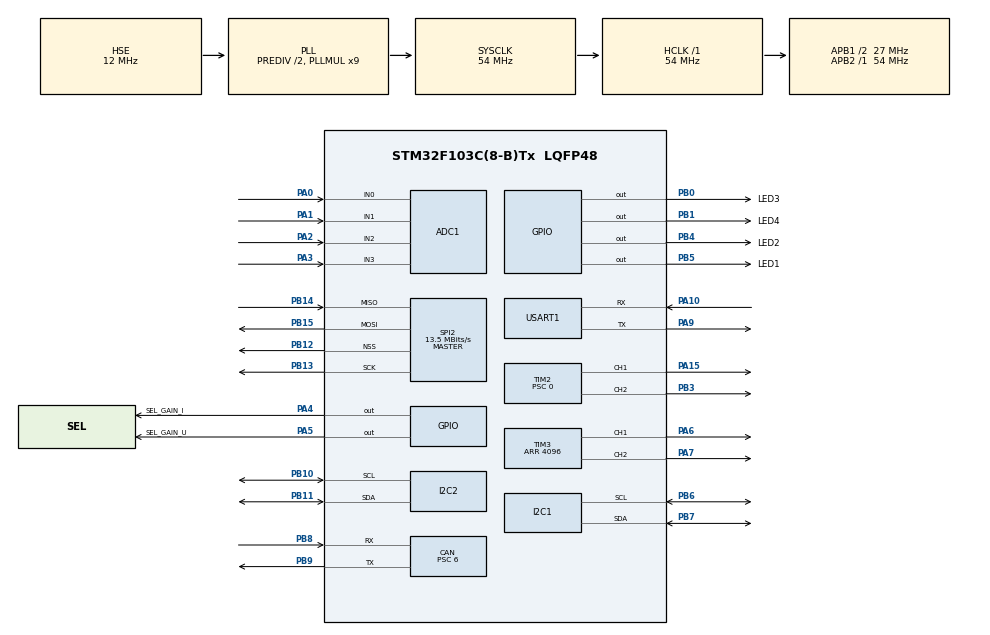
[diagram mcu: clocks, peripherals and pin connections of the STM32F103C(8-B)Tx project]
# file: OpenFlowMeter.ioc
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ADC1.Channel-4\#ChannelRegularConversion=ADC_CHANNEL_0
ADC1.Channel-5\#ChannelRegularConversion=ADC_CHANNEL_1
ADC1.Channel-6\#ChannelRegularConversion=ADC_CHANNEL_2
ADC1.Channel-7\#ChannelRegularConversion=ADC_CHANNEL_3
ADC1.Channel-8\#ChannelRegularConversion=ADC_CHANNEL_TEMPSENSOR
ADC1.Channel-9\#ChannelRegularConversion=ADC_CHANNEL_VREFINT
ADC1.ContinuousConvMode=DISABLE
ADC1.DiscontinuousConvMode=DISABLE
ADC1.EnableInjectedConversion=DISABLE
ADC1.ExternalTrigConv=ADC_SOFTWARE_START
ADC1.NbrOfConversion=6
ADC1.NbrOfConversionFlag=1
ADC1.Rank-4\#ChannelRegularConversion=1
ADC1.Rank-5\#ChannelRegularConversion=2
ADC1.Rank-6\#ChannelRegularConversion=3
ADC1.Rank-7\#ChannelRegularConversion=4
ADC1.Rank-8\#ChannelRegularConversion=5
ADC1.Rank-9\#ChannelRegularConversion=6
ADC1.SamplingTime-4\#ChannelRegularConversion=ADC_SAMPLETIME_55CYCLES_5
ADC1.SamplingTime-5\#ChannelRegularConversion=ADC_SAMPLETIME_55CYCLES_5
ADC1.SamplingTime-6\#ChannelRegularConversion=ADC_SAMPLETIME_55CYCLES_5
ADC1.SamplingTime-7\#ChannelRegularConversion=ADC_SAMPLETIME_55CYCLES_5
ADC1.SamplingTime-8\#ChannelRegularConversion=ADC_SAMPLETIME_55CYCLES_5
ADC1.SamplingTime-9\#ChannelRegularConversion=ADC_SAMPLETIME_55CYCLES_5
ADC1.master=1
CAN.BS1=CAN_BS1_7TQ
CAN.BS2=CAN_BS2_1TQ
CAN.CalculateBaudRate=500000
CAN.CalculateTimeBit=2000
CAN.CalculateTimeQuantum=222.22222222222223
CAN.NART=DISABLE
CAN.Prescaler=6
CAN.SJW=CAN_SJW_1TQ
CAN.TXFP=ENABLE
Dma.ADC1.0.Direction=DMA_PERIPH_TO_MEMORY
Dma.ADC1.0.Instance=DMA1_Channel1
Dma.ADC1.0.MemDataAlignment=DMA_MDATAALIGN_WORD
Dma.ADC1.0.MemInc=DMA_MINC_ENABLE
Dma.ADC1.0.Mode=DMA_CIRCULAR
Dma.ADC1.0.PeriphDataAlignment=DMA_PDATAALIGN_WORD
Dma.ADC1.0.PeriphInc=DMA_PINC_DISABLE
Dma.ADC1.0.Priority=DMA_PRIORITY_LOW
Dma.Request0=ADC1
Mcu.Family=STM32F1
Mcu.Name=STM32F103C(8-B)Tx
Mcu.Package=LQFP48
NVIC.CAN1_RX1_IRQn=true\:0\:0\:false\:false\:true\:true\:true\:true
NVIC.DMA1_Channel1_IRQn=true\:0\:0\:false\:false\:true\:false\:true\:true
NVIC.PriorityGroup=NVIC_PRIORITYGROUP_4
NVIC.TIM1_UP_IRQn=true\:0\:0\:false\:false\:true\:true\:true\:true
NVIC.USB_LP_CAN1_RX0_IRQn=true\:0\:0\:false\:false\:true\:false\:true\:true
PA0-WKUP.Signal=ADCx_IN0
PA1.Signal=ADCx_IN1
PA10.Mode=Asynchronous
PA10.Signal=USART1_RX
PA13.Mode=Serial_Wire
PA13.Signal=SYS_JTMS-SWDIO
PA14.Mode=Serial_Wire
PA14.Signal=SYS_JTCK-SWCLK
PA15.Signal=S_TIM2_CH1_ETR
PA2.Signal=ADCx_IN2
PA3.Signal=ADCx_IN3
PA4.GPIO_Label=SEL_GAIN_I
PA4.Signal=GPIO_Output
PA5.GPIO_Label=SEL_GAIN_U
PA5.Signal=GPIO_Output
PA6.Signal=S_TIM3_CH1
PA7.Signal=S_TIM3_CH2
PA9.Mode=Asynchronous
PA9.Signal=USART1_TX
PB0.GPIO_Label=LED3
PB0.GPIO_ModeDefaultOutputPP=GPIO_MODE_OUTPUT_OD
PB0.Signal=GPIO_Output
PB1.GPIO_Label=LED4
PB1.GPIO_ModeDefaultOutputPP=GPIO_MODE_OUTPUT_OD
PB1.Signal=GPIO_Output
PB10.GPIO_Pu=GPIO_PULLUP
PB10.Mode=I2C
PB10.Signal=I2C2_SCL
PB11.GPIO_Pu=GPIO_PULLUP
PB11.Mode=I2C
PB11.Signal=I2C2_SDA
PB12.Mode=NSS_Signal_Hard_Output
PB12.Signal=SPI2_NSS
PB13.Mode=Full_Duplex_Master
PB13.Signal=SPI2_SCK
PB14.Mode=Full_Duplex_Master
PB14.Signal=SPI2_MISO
PB15.Mode=Full_Duplex_Master
PB15.Signal=SPI2_MOSI
PB3.Signal=S_TIM2_CH2
PB4.GPIO_Label=LED2
PB4.GPIO_ModeDefaultOutputPP=GPIO_MODE_OUTPUT_OD
PB4.Signal=GPIO_Output
PB5.GPIO_Label=LED1
PB5.GPIO_ModeDefaultOutputPP=GPIO_MODE_OUTPUT_OD
PB5.Signal=GPIO_Output
PB6.GPIO_Pu=GPIO_PULLUP
PB6.Mode=I2C
PB6.Signal=I2C1_SCL
PB7.GPIO_Pu=GPIO_PULLUP
PB7.Mode=I2C
PB7.Signal=I2C1_SDA
PB8.Mode=CAN_Activate
PB8.Signal=CAN_RX
PB9.Mode=CAN_Activate
PB9.Signal=CAN_TX
PD0-OSC_IN.Mode=HSE-External-Oscillator
PD0-OSC_IN.Signal=RCC_OSC_IN
PD1-OSC_OUT.Mode=HSE-External-Oscillator
PD1-OSC_OUT.Signal=RCC_OSC_OUT
ProjectManager.HeapSize=0x200
ProjectManager.StackSize=0x400
ProjectManager.TargetToolchain=STM32CubeIDE
RCC.ADCPresc=RCC_ADCPCLK2_DIV8
RCC.AHBFreq_Value=54000000
RCC.APB1CLKDivider=RCC_HCLK_DIV2
RCC.APB1Freq_Value=27000000
RCC.APB1TimFreq_Value=54000000
RCC.APB2Freq_Value=54000000
RCC.APB2TimFreq_Value=54000000
RCC.HCLKFreq_Value=54000000
RCC.HSEDivPLL=RCC_HSE_PREDIV_DIV2
RCC.HSE_VALUE=12000000
RCC.LockedElements=APB1Output,ADCoutput
RCC.PLLMUL=RCC_PLL_MUL9
RCC.PLLSourceVirtual=RCC_PLLSOURCE_HSE
RCC.SYSCLKFreq_VALUE=54000000
RCC.SYSCLKSource=RCC_SYSCLKSOURCE_PLLCLK
RCC.USBFreq_Value=36000000
RCC.USBPrescaler=RCC_USBCLKSOURCE_PLL_DIV1_5
SH.ADCx_IN0.0=ADC1_IN0,IN0
SH.ADCx_IN0.1=ADC2_IN0
SH.ADCx_IN1.0=ADC1_IN1,IN1
SH.ADCx_IN1.1=ADC2_IN1
SH.ADCx_IN2.0=ADC1_IN2,IN2
SH.ADCx_IN2.1=ADC2_IN2
SH.ADCx_IN3.0=ADC1_IN3,IN3
SH.ADCx_IN3.1=ADC2_IN3
SH.S_TIM2_CH1_ETR.0=TIM2_CH1,PWM Generation1 CH1
SH.S_TIM2_CH2.0=TIM2_CH2,PWM Generation2 CH2
SH.S_TIM3_CH1.0=TIM3_CH1,PWM Generation1 CH1
SH.S_TIM3_CH2.0=TIM3_CH2,PWM Generation2 CH2
SPI2.CalculateBaudRate=13.5 MBits/s
SPI2.Direction=SPI_DIRECTION_2LINES
SPI2.Mode=SPI_MODE_MASTER
SPI2.VirtualNSS=VM_NSSHARD
SPI2.VirtualType=VM_MASTER
TIM1.AutoReloadPreload=TIM_AUTORELOAD_PRELOAD_ENABLE
TIM1.Period=1250-1
TIM1.Prescaler=5400-1
TIM2.AutoReloadPreload=TIM_AUTORELOAD_PRELOAD_ENABLE
TIM2.Channel-PWM\ Generation1\ CH1=TIM_CHANNEL_1
TIM2.Channel-PWM\ Generation2\ CH2=TIM_CHANNEL_2
TIM2.Period=4096
TIM2.Prescaler=0
TIM3.AutoReloadPreload=TIM_AUTORELOAD_PRELOAD_ENABLE
TIM3.Channel-PWM\ Generation1\ CH1=TIM_CHANNEL_1
TIM3.Channel-PWM\ Generation2\ CH2=TIM_CHANNEL_2
TIM3.Period=4096
USART1.VirtualMode=VM_ASYNC
VP_ADC1_TempSens_Input.Mode=IN-TempSens
VP_ADC1_Vref_Input.Mode=IN-Vrefint
VP_TIM1_VS_ClockSourceINT.Mode=Internal
VP_TIM2_VS_ClockSourceINT.Mode=Internal
VP_TIM3_VS_ClockSourceINT.Mode=Internal
VP_TIM4_VS_ClockSourceINT.Mode=Internal
board=custom

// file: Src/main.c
/* USER CODE BEGIN Header */
/**
  ******************************************************************************
  * @file           : main.c
  * @brief          : Main program body
  ******************************************************************************
  * @attention
  *
  * <h2><center>&copy; Copyright (c) 2022 STMicroelectronics.
  * All rights reserved.</center></h2>
  *
  * This software component is licensed by ST under BSD 3-Clause license,
  * the "License"; You may not use this file except in compliance with the
  * License. You may obtain a copy of the License at:
  *                        opensource.org/licenses/BSD-3-Clause
  *
  ******************************************************************************
  */
/* USER CODE END Header */
#include "main.h"
#include "adc.h"
#include "can.h"
#include "dma.h"
#include "i2c.h"
#include "spi.h"
#include "tim.h"
#include "usart.h"
#include "gpio.h"

/* USER CODE BEGIN Includes */
#include "pcb_version.h"
#include "syscalls.h"
#include "utils.h"
#include "i2c_scanner.h"
#include "i2c_utils.h"
#include "config.h"
#include "eeprom_cfg.h"

#include "pid.h"

#include <stdbool.h>
/* USER CODE END Includes */

/* USER CODE BEGIN PD */
/******************************************************************************/
/**
 * select, what should be printed via UART
 */
//#define PRINT_UART_PID          // print PID performance
//#define PRINT_UART_ADC        // print the ADC data
//#define PRINT_UART_CALC_TEMP  // print the calculated temperatures
/******************************************************************************/
#if defined(PCB_V2) || defined(PCB_V3)
#define I2C_SENSOR_READOUT
#endif
/******************************************************************************/
/**
 * Write the configuration at startup into the EEPROM
 */
//#define WRITE_DEFAULT_CFG_EEPROM_STARTUP

/* USER CODE END PD */

/* USER CODE BEGIN PV */
/// pointer to the current setting PWM
volatile uint32_t *PWMcurrent[2] = {&TIM3->CCR2, &TIM3->CCR1};
/// current
float current[2];
/// voltage
float voltage[2];
/// temperature
float temperature[2];

#if defined(PCB_V3)
  // There are two offsets one for each channel
  float offset[2];
  volatile uint32_t *PWMoffset[2] = {&TIM2->CCR2, &TIM2->CCR1};
#endif

// avoid flickering saturation non saturation
#define SAT_CNT_PRESET  10
uint8_t current_sat_cnt[2];
uint8_t voltage_sat_cnt[2];

/// output from PID, which is connected to the PWM output, if the PID is active
uint16_t PIDout[2];

/* USER CODE END PV */

void SystemClock_Config(void);

int main(void)
{

  /* MCU Configuration--------------------------------------------------------*/

  /* Reset of all peripherals, Initializes the Flash interface and the Systick. */
  HAL_Init();

  /* Configure the system clock */
  SystemClock_Config();

  /* Initialize all configured peripherals */
  MX_GPIO_Init();
  MX_DMA_Init();
  MX_ADC1_Init();
  MX_CAN_Init();

  MX_I2C1_Init();
  MX_I2C2_Init();

  MX_USART1_UART_Init();

  MX_SPI2_Init();

  MX_TIM1_Init();
  MX_TIM2_Init();
  MX_TIM3_Init();
  MX_TIM4_Init();

  /* USER CODE BEGIN 2 */
  /****************************************************************************/
  printf("\r\n\r\n");
  printf("Compiled at "__DATE__" - "__TIME__"\r\n");
  printf("Compiled with GCC Version "__VERSION__"\r\n");

#if defined(PCB_V1)
  printf("PCB version 1\r\n");
#elif defined(PCB_V2)
  printf("PCB version 2\r\n");
#elif defined(PCB_V3)
  printf("PCB version 3\r\n");
#endif
  /****************************************************************************/
  // all OFF
  LED_ERROR(SET);    // red      -> failure
  LED_CANRX(SET);    // yellow   -> RX
  LED_CANTX(SET);    // yellow   -> TX
  LED_STATUS(SET);   // green    -> TIM2

  // all LEDs ON
  LED_ERROR(RESET);
  HAL_Delay(500);
  LED_CANRX(RESET);
  HAL_Delay(500);
  LED_CANTX(RESET);
  HAL_Delay(500);
  LED_STATUS(RESET);

  HAL_Delay(1000);

  // do an I2C scan of both I2C ports
  i2c_scan(&hi2c1);   // PORT 1
  i2c_scan(&hi2c2);   // PORT 2

  // all LEDs off
  LED_ERROR(SET);
  HAL_Delay(500);
  LED_CANRX(SET);
  HAL_Delay(500);
  LED_CANTX(SET);
  HAL_Delay(500);
  LED_STATUS(SET);
  /****************************************************************************/
  // read all configuration values from I2C EEPROM, or use default ones
  generateDefaultCFG(&cfg);
  generateDefaultCFG(&default_cfg);

  printf("\r\n\r\nDEFAULT config:\r\n");
  printCfg(&default_cfg);

#if defined(WRITE_DEFAULT_CFG_EEPROM_STARTUP)
  write_EEPROM_cfg(&hi2c1, &default_cfg);
#endif

  read_EEPROM_cfg(&hi2c1, &cfg, &default_cfg);

  printf("\r\n\r\nEEPROM config:\r\n");
  printCfg(&cfg);

  // link configuration to PID controllers
  for(int i=0; i<2; i++){
    pid[i].PIDcfg = &cfg.PID[i];
    pid[i].input  = &temperature[i];
    pid[i].output = &PIDout[i];
  }

  printf("\r\n\r\n");
  /****************************************************************************/
  // START CAN Bus (required for transmission of messages)
  printf("starting CAN Bus...\r\n");
  HAL_CAN_Start(&hcan);

  // prepare CAN filter for receiving messages
  // FIFO 0
  CAN_prepare_filter_id(
      CAN_CONFIG_ID | (cfg.board_ID << 4),
      CAN_DAC_ID    | (cfg.board_ID << 4),
      0);
  // FIFO 1
  //CAN_prepare_filter_id(0x125, 0x126, 1);   // not needed?

  // activate notifications
  if(HAL_CAN_ActivateNotification(&hcan, CAN_IT_RX_FIFO0_MSG_PENDING)!= HAL_OK){
	  Error_Handler();
  }
  if(HAL_CAN_ActivateNotification(&hcan, CAN_IT_RX_FIFO1_MSG_PENDING)!= HAL_OK){
	  Error_Handler();
  }
  /****************************************************************************/
  printf("starting periodic timer TIM1...\r\n");
  HAL_TIM_Base_Start_IT(&htim1);

#if defined(PCB_V3)
  // PWM for driving the bias of the amplifier
  printf("starting TIM2 PWM...\r\n");
  HAL_TIM_PWM_Start(&htim2, TIM_CHANNEL_1); // start channel 1
  HAL_TIM_PWM_Start(&htim2, TIM_CHANNEL_2); // start channel 2

  // Initialize PWM outputs with 0
  TIM2->CCR1 = 0; // set channel 1
  TIM2->CCR2 = 0; // set channel 2
#endif

  // PWM for driving the current sources
  printf("starting TIM3 PWM...\r\n");
  HAL_TIM_PWM_Start(&htim3, TIM_CHANNEL_1); // start channel 1
  HAL_TIM_PWM_Start(&htim3, TIM_CHANNEL_2); // start channel 2

  // Initialize PWM outputs with 0
  TIM3->CCR1 = 0; // set channel 1
  TIM3->CCR2 = 0; // set channel 2

  /****************************************************************************/
  // Calibrate The ADC On Power-Up For Better Accuracy
  printf("calibrating ADC...\r\n");
  HAL_ADCEx_Calibration_Start(&hadc1);

  /****************************************************************************/
#if defined(I2C_SENSOR_READOUT)
  // Test of TMP100 / TMP101
  i2c_init_TMP100(&hi2c1, 0x48);
  i2c_read_TMP100(&hi2c1, 0x48);
#endif

  // start ADC DMA
  printf("starting ADC DMA...\r\n");
  // start first ADC conversion
  HAL_ADC_Start_DMA(&hadc1, adcBuf, ADC_BUFLEN); //Link DMA to ADC1
  /****************************************************************************/
  // create a pointer map for easy access
  // low gain
  avr_current[0][0] = &avr_adcBuf_GAIN_0[0];
  avr_voltage[0][0] = &avr_adcBuf_GAIN_0[1];
  avr_current[1][0] = &avr_adcBuf_GAIN_0[2];
  avr_voltage[1][0] = &avr_adcBuf_GAIN_0[3];

  // high gain
  avr_current[0][1] = &avr_adcBuf_GAIN_1[0];
  avr_voltage[0][1] = &avr_adcBuf_GAIN_1[1];
  avr_current[1][1] = &avr_adcBuf_GAIN_1[2];
  avr_voltage[1][1] = &avr_adcBuf_GAIN_1[3];
  /* USER CODE END 2 */

  /* Infinite loop */
  /* USER CODE BEGIN WHILE */

  /// store the old timer2 value
  uint8_t timer_elapsed_old = 0;

  // variables for transmitting CAN messages
  uint8_t cnt_can_adc = 0;        ///< counter for the CAN ADC message rate

#if defined(I2C_SENSOR_READOUT)
  uint8_t cnt_can_i2c_tmp100 = 0; ///< counter for the CAN I2C TMP100 rate
  uint8_t cnt_can_i2c_bme680 = 0; ///< counter for the CAN I2C BME680 rate
#endif

  uint8_t cnt_print_uart = 0;     ///< counter for UART output

  uint8_t ADCgainUsed = 0;        ///< which ADC gain is used for calculation

  /****************************************************************************/
  printf("successfully started everything\r\n");
  // Main loop
  while (1)
  {
    /* USER CODE END WHILE */

    /* USER CODE BEGIN 3 */
    /**************************************************************************/
    // CAN message handling is done in CAN_parse_message in can.c
    if (can_message_received){
      CAN_parse_message(RxHeader, RxData);
      can_message_received = 0;
    }

    /***************************************************************************
     * check whether a new ADC result has been taken, wait a short time for
     * everything to settle and trigger a new conversion
     **************************************************************************/
    if (adc_result_received){
      adc_result_received = 0;
      HAL_Delay(2);
      HAL_ADC_Start_DMA(&hadc1, adcBuf, ADC_BUFLEN);
    }

    /***************************************************************************
     * check timer 2 for doing periodic tasks
     * one timer2_elapsed is equal to 125ms
     **************************************************************************/
    if( timer_elapsed >= timer_elapsed_old){
        timer_elapsed_old = timer_elapsed + 1;	// important to add +1, in
                                                  // order to catch overflow

        // increase the interval counters every time this counter is evaluated
        cnt_can_adc++;
        cnt_print_uart++;

#if defined(I2C_SENSOR_READOUT)
        cnt_can_i2c_tmp100++;
        cnt_can_i2c_bme680++;
#endif

        /***********************************************************************
         * PID handling
         * for the PID, it is important, that it is triggered with a constant
         * frequency.
         */
        // calculate current and voltage of each channel
        // use the highest possible gain

        ADCgainUsed = 0;

        // calculate coarse current and voltage for each channel
        for(int i=0; i<2; i++){
#if defined(PCB_V1)
          current[i] = (*avr_current[i][0] * LSB2I);
          voltage[i] = (*avr_voltage[i][0] * LSB2U);
#elif defined(PCB_V2)
          current[i] = (*avr_current[i][0] * LSB2I) + cfg.GAIN[i].Ibias/1000.;
          voltage[i] = (*avr_voltage[i][0] * LSB2U) + cfg.GAIN[i].Ubias;
#elif defined(PCB_V3)
          // TODO implement proper voltage / current reading
          current[i] = (*avr_current[i][0] * LSB2I);
          voltage[i] = (*avr_voltage[i][0] * LSB2U);
#endif
        }

#if defined(PCB_V2)
        for(int i=0; i<2; i++){

          if( *avr_current[i][1] < ISATURATION_LSB ){
            // high gain setting
            if(!current_sat_cnt[i]){
              current[i] = *avr_current[i][1] * LSB2I / cfg.GAIN[i].Igain;
              ADCgainUsed |= (1 << (0 + 2*i));
            }else{
              current_sat_cnt[i]--;
            }
          }else{
            current_sat_cnt[i] = SAT_CNT_PRESET;
          }

          if( *avr_voltage[i][1] < USATURATION_LSB ){
            // high gain setting
            if(!voltage_sat_cnt[i]){
              voltage[i] = *avr_voltage[i][1] * LSB2U / cfg.GAIN[i].Ugain;
              ADCgainUsed |= (1 << (1 + 2*i));
            }else{
              voltage_sat_cnt[i]--;
            }
          }else{
            voltage_sat_cnt[i] = SAT_CNT_PRESET;
          }
        }
#elif defined(PCB_V3)
        // get the offset voltage
        for(int i=0; i<2; i++){
          offset[i] = 3.3 * (*PWMoffset[i]) / 4096;
        }

        for(int i=0; i<2; i++){
          // check for saturation
          if(*avr_voltage[i][1] >= USATURATION_LSB || *avr_current[i][1] >= ISATURATION_LSB){
            // one of the high gain measurement is in saturation
            // adjust the offset voltage
            *PWMoffset[i] += 10;
            continue;
          }else if(*avr_voltage[i][1] == 0 || *avr_current[i][1] == 0){
            *PWMoffset[i] += 10;
            continue;
          }else{
            // if offset voltage is fine, we can use the high gain
            voltage[i] = getVoltageBeforeAmplifier(*avr_voltage[i][1] * LSB2U, offset[i], cfg.U_R1[i], cfg.U_R2[i]);
            current[i] = getVoltageBeforeAmplifier(*avr_current[i][1] * LSB2U, offset[i], cfg.I_R1[i], cfg.I_R2[i]) * U2I;
          }
        }
#endif
        /** calculate temperatures ********************************************/
        for(int i=0; i<2; i++){
          temperature[i] = convertPT100_R2T( voltage[i] / current[i] );
        }

        /** run the PID controllers *******************************************/
        for(int i=0; i<2; i++){
          runPID(&pid[i]);
          /** update the output, if the PID is active *************************/
          if(pid[0].active){
            *PWMcurrent[i] = PIDout[i];
          }else{
            *PWMcurrent[i] = PWM[i];
          }
          /** update the offset ***********************************************/
          *PWMoffset[i] = 0.9 * (*PWMcurrent[i]);
        }

        /** link the PID active to the configuration active *******************/
        pid[0].active = cfg.PID_flags.PID0_active;
        pid[1].active = cfg.PID_flags.PID1_active;
    }

    /***************************************************************************
     * Print some variables via UART
     **************************************************************************/
    if( cnt_print_uart >= cfg.interval_PRINT_UART
        && cfg.interval_PRINT_UART < 255
        ){
      cnt_print_uart = 0;

#if defined(PRINT_UART_ADC)
      printf("collected ADC results %d\r\n", adc_result_cnt);
      // reset ADC result counter
      adc_result_cnt = 0;

      // printout collected data
      // first 4 samples are from current sources
      for(uint8_t i = 0; i<4; i++){
        printf("%d\t", avr_adcBuf_GAIN_0[i]);
      }
      printf("\r\n");
      for(uint8_t i = 0; i<4; i++){
        printf("%d\t", avr_adcBuf_GAIN_1[i]);
      }
      printf("\r\n");

      printf("T= %ld\tU= %ld\r\n", adcBuf[4], adcBuf[5]);

#endif
#if defined(PRINT_UART_PID)
      for(int i=0; i<2; i++){
        printf("PID%d %d\r\n",  i, pid[0].active);
        printf(" - I   %f\r\n",  current[i]);
        printf(" - U   %f\r\n",  voltage[i]);
        if(i==0){
          printf(" - PWM %ld\r\n", TIM3->CCR2);
        }else{
          printf(" - PWM %ld\r\n", TIM3->CCR1);
        }
        printf(" - Tm  %f\r\n",  temperature[i]);
        printf(" - Ts  %f\r\n",  pid[i].PIDcfg->PID_T );
        printf(" - P   %f\r\n",  pid[i].PIDcfg->PID_P );
        printf(" - I   %f\r\n",  pid[i].PIDcfg->PID_I );
        printf(" - D   %f\r\n",  pid[i].PIDcfg->PID_D );
      }
#endif
#if defined(PRINT_UART_CALC_TEMP)
      printf("Temperatures:\r\n");
      printf("ADC gain selection %x \r\n", ADCgainUsed);
      for(int i=0; i<2; i++){
        printf("CH%d: %f\r\n", i, temperature[i]);
        printf(" - I   %f\r\n",  current[i]);
        printf(" - U   %f\r\n",  voltage[i]);
      }
#endif
    }

    /***************************************************************************
     * Send out periodic CAN messages for ADC
     **************************************************************************/
    // ADC CAN message
    if( cnt_can_adc >= cfg.interval_CAN_ADC && cfg.interval_CAN_ADC < 255) {
        // reset CAN timer counter
        cnt_can_adc = 0;

        // TODO remove debug CAN message transmission
        //CAN_send_DAC_readback();
        CAN_send_uint16s(CAN_DAC_ID         | (cfg.board_ID << 4),
                             3, *PWMcurrent[0], *PWMcurrent[1], (uint16_t)ADCgainUsed );
        CAN_send_floats( CAN_TEMPERATURE_ID | (cfg.board_ID << 4) ,
                                                  &temperature[0], &temperature[1]);
        CAN_send_floats( CAN_VOLTAGE_ID     | (cfg.board_ID << 4) ,
                                                  &voltage[0], &voltage[1]);
        CAN_send_floats( CAN_CURRENT_ID     | (cfg.board_ID << 4) ,
                                                  &current[0], &current[1]);

        /**********************************************************************/
        // convert 16bit ADC result into 2x 8bit for CAN message
        // one CAN message can transport up to 8 bytes

        /**********************************************************************/
        // CHANNEL 0
        CAN_send_uint16s(CAN_ADC_MSG_ID_CH0 | (cfg.board_ID << 4), 4,
            avr_adcBuf_GAIN_0[0], avr_adcBuf_GAIN_0[1],
            avr_adcBuf_GAIN_1[0], avr_adcBuf_GAIN_1[1]
            );

        /**********************************************************************/
        // CHANNEL 1
        CAN_send_uint16s(CAN_ADC_MSG_ID_CH1 | (cfg.board_ID << 4), 4,
            avr_adcBuf_GAIN_0[2], avr_adcBuf_GAIN_0[3],
            avr_adcBuf_GAIN_1[2], avr_adcBuf_GAIN_1[3]
            );
        /**********************************************************************/
        // send internal data
        CAN_send_uint16s(CAN_UC_STATUS | (cfg.board_ID << 4), 2,
            avr_adcBuf_GAIN_0[4], avr_adcBuf_GAIN_0[5]
            );
    }

    /***************************************************************************
     * Send out periodic CAN messages for I2C bus
     **************************************************************************/
#if defined(I2C_SENSOR_READOUT)
    // I2C sensors
    if( cnt_can_i2c_tmp100 >= cfg.interval_I2C_TMP100
        && cfg.interval_I2C_TMP100 < 255){
      cnt_can_i2c_tmp100 = 0;
      uint16_t tmp100 = i2c_read_TMP100(&hi2c1, 0x48);
      CAN_send_uint16s(CAN_I2C_MSG_TMP100 | (cfg.board_ID << 4), 1, tmp100 );
    }
    if( cnt_can_i2c_bme680 >= cfg.interval_I2C_BME680
        && cfg.interval_I2C_BME680 < 255){
      //TODO to be implemented
    }
#endif
  } // while(1)
  /* USER CODE END 3 */
} // void main()

void SystemClock_Config(void)
{
  RCC_OscInitTypeDef RCC_OscInitStruct = {0};
  RCC_ClkInitTypeDef RCC_ClkInitStruct = {0};
  RCC_PeriphCLKInitTypeDef PeriphClkInit = {0};

  /** Initializes the RCC Oscillators according to the specified parameters
  * in the RCC_OscInitTypeDef structure.
  */
  RCC_OscInitStruct.OscillatorType = RCC_OSCILLATORTYPE_HSE;
  RCC_OscInitStruct.HSEState = RCC_HSE_ON;
  RCC_OscInitStruct.HSEPredivValue = RCC_HSE_PREDIV_DIV2;
  RCC_OscInitStruct.HSIState = RCC_HSI_ON;
  RCC_OscInitStruct.PLL.PLLState = RCC_PLL_ON;
  RCC_OscInitStruct.PLL.PLLSource = RCC_PLLSOURCE_HSE;
  RCC_OscInitStruct.PLL.PLLMUL = RCC_PLL_MUL9;
  if (HAL_RCC_OscConfig(&RCC_OscInitStruct) != HAL_OK)
  {
    Error_Handler();
  }

  /** Initializes the CPU, AHB and APB buses clocks
  */
  RCC_ClkInitStruct.ClockType = RCC_CLOCKTYPE_HCLK|RCC_CLOCKTYPE_SYSCLK
                              |RCC_CLOCKTYPE_PCLK1|RCC_CLOCKTYPE_PCLK2;
  RCC_ClkInitStruct.SYSCLKSource = RCC_SYSCLKSOURCE_PLLCLK;
  RCC_ClkInitStruct.AHBCLKDivider = RCC_SYSCLK_DIV1;
  RCC_ClkInitStruct.APB1CLKDivider = RCC_HCLK_DIV2;
  RCC_ClkInitStruct.APB2CLKDivider = RCC_HCLK_DIV1;

  if (HAL_RCC_ClockConfig(&RCC_ClkInitStruct, FLASH_LATENCY_2) != HAL_OK)
  {
    Error_Handler();
  }
  PeriphClkInit.PeriphClockSelection = RCC_PERIPHCLK_ADC;
  PeriphClkInit.AdcClockSelection = RCC_ADCPCLK2_DIV8;
  if (HAL_RCCEx_PeriphCLKConfig(&PeriphClkInit) != HAL_OK)
  {
    Error_Handler();
  }
}

void Error_Handler(void)
{
  /* USER CODE BEGIN Error_Handler_Debug */
  /* User can add his own implementation to report the HAL error return state */
  __disable_irq();
  // switch ON red LED
  HAL_GPIO_WritePin(LED1_GPIO_Port, LED1_Pin, GPIO_PIN_RESET);
  while (1)
  {
  }
  /* USER CODE END Error_Handler_Debug */
}

#ifdef  USE_FULL_ASSERT
/**
  * @brief  Reports the name of the source file and the source line number
  *         where the assert_param error has occurred.
  * @param  file: pointer to the source file name
  * @param  line: assert_param error line source number
  * @retval None
  */
void assert_failed(uint8_t *file, uint32_t line)
{
  /* USER CODE BEGIN 6 */
  /* User can add his own implementation to report the file name and line number,
     ex: printf("Wrong parameters value: file %s on line %d\r\n", file, line) */
  printf("Wrong parameters value: file %s on line %d\r\n", file, line);
  /* USER CODE END 6 */
}
#endif /* USE_FULL_ASSERT */
